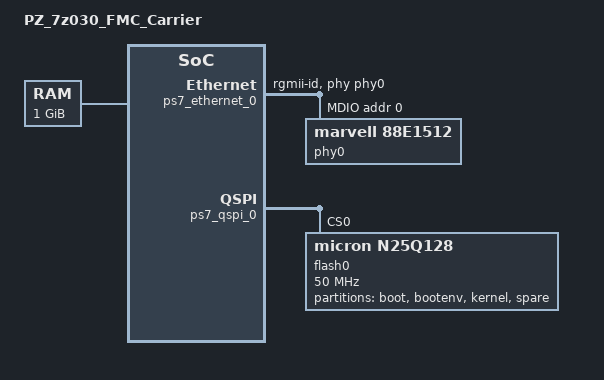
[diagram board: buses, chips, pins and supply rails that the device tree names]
/dts-v1/;
/include/ "ps.dtsi"
/include/ "pl.dtsi"

/ {
	model = "PZ_7z030_FMC_Carrier";
	aliases {
		serial0 = &ps7_uart_1;
		ethernet0 = &ps7_ethernet_0;
	};
	chosen {
		bootargs = "console=ttyPS0,115200 root=/dev/nfs rw nfsroot=172.23.244.35:/scratch/rootfs/xlnx-zynq ip=172.23.252.100::172.23.240.254:255.255.240.0:zynq-iu42::none";
	};
	memory {
		device_type = "memory";
		reg = <0x0 0x40000000>;
	};
};

&ps7_ethernet_0 {
	local-mac-address = [00 0a 35 00 22 5c];
};

&ps7_qspi_0 {
	#address-cells = <1>;
	#size-cells = <0>;
	flash0: flash@0 {
		compatible = "micron,n25q128";
		reg = <0x0>;
		#address-cells = <1>;
		#size-cells = <1>;
		spi-max-frequency = <50000000>;
		partition@0x00000000 {
			label = "boot";
			reg = <0x00000000 0x00500000>;
		};
		partition@0x00500000 {
			label = "bootenv";
			reg = <0x00500000 0x00020000>;
		};
		partition@0x00520000 {
			label = "kernel";
			reg = <0x00520000 0x00a80000>;
		};
		partition@0x00fa0000 {
			label = "spare";
			reg = <0x00fa0000 0x00000000>;
		};
	};
};

/ {
};

&ps7_ethernet_0 {
	phy-handle = <&phy0>;
	phy-mode = "rgmii-id";
	
	mdio {
		#address-cells = <1>;
		#size-cells = <0>;
		phy0: phy@0 {
			compatible = "marvell,88e1512";
			device_type = "ethernet-phy";
			reg = <0x0>;
			marvell,reg-init = <3 16 0xff00 0x1e 3 17 0xfff0 0x00>;
		};
	};
};
